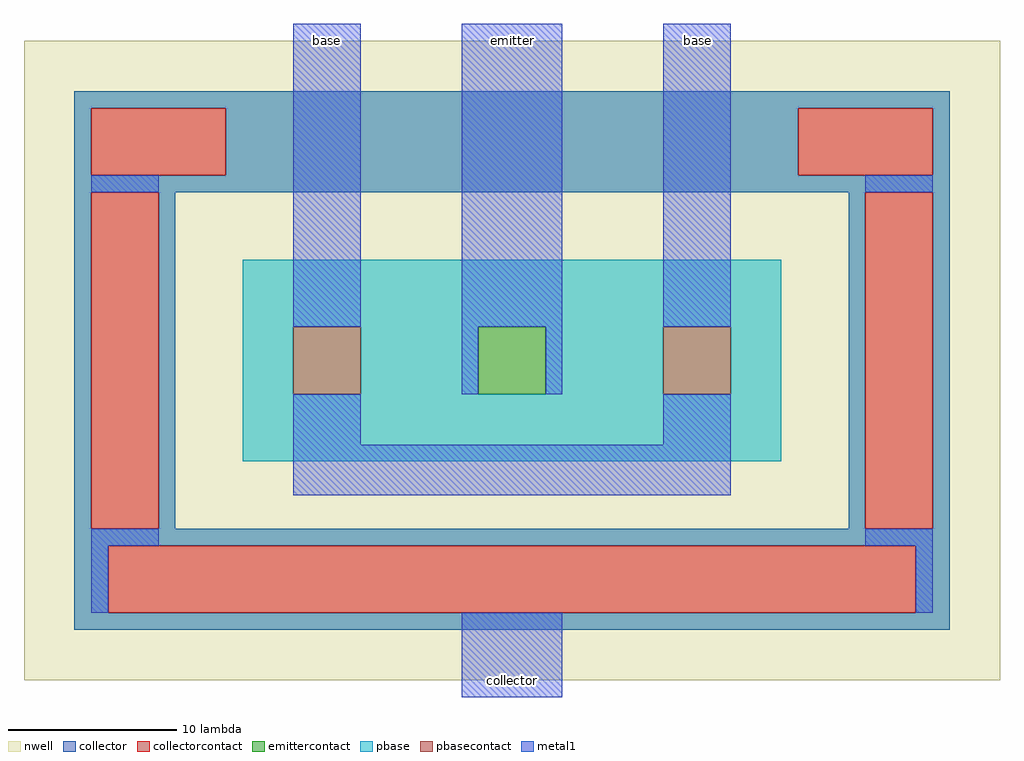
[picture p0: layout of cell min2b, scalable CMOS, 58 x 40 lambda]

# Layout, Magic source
magic
tech scmos
<< nwell >>
rect 0 1 58 39
<< metal1 >>
rect 4 30 8 31
rect 16 22 20 40
rect 26 22 32 40
rect 26 18 27 22
rect 31 18 32 22
rect 38 22 42 40
rect 16 15 20 18
rect 38 15 42 18
rect 16 12 42 15
rect 50 30 54 31
rect 4 9 8 10
rect 50 9 54 10
rect 4 5 5 9
rect 53 5 54 9
rect 26 0 32 5
<< collector >>
rect 3 35 55 36
rect 3 31 4 35
rect 12 31 46 35
rect 54 31 55 35
rect 3 30 55 31
rect 3 10 4 30
rect 8 10 9 30
rect 49 10 50 30
rect 54 10 55 30
rect 3 9 55 10
rect 3 5 5 9
rect 53 5 55 9
rect 3 4 55 5
<< pbase >>
rect 13 22 45 26
rect 13 18 16 22
rect 20 18 27 22
rect 31 18 38 22
rect 42 18 45 22
rect 13 14 45 18
<< collectorcontact >>
rect 4 31 12 35
rect 46 31 54 35
rect 4 10 8 30
rect 50 10 54 30
rect 5 5 53 9
<< emittercontact >>
rect 27 18 31 22
<< pbasecontact >>
rect 16 18 20 22
rect 38 18 42 22
<< labels >>
rlabel metal1 29 1 29 1 1 collector
rlabel metal1 40 39 40 39 1 base
rlabel metal1 29 39 29 39 1 emitter
rlabel metal1 18 39 18 39 1 base
<< end >>
